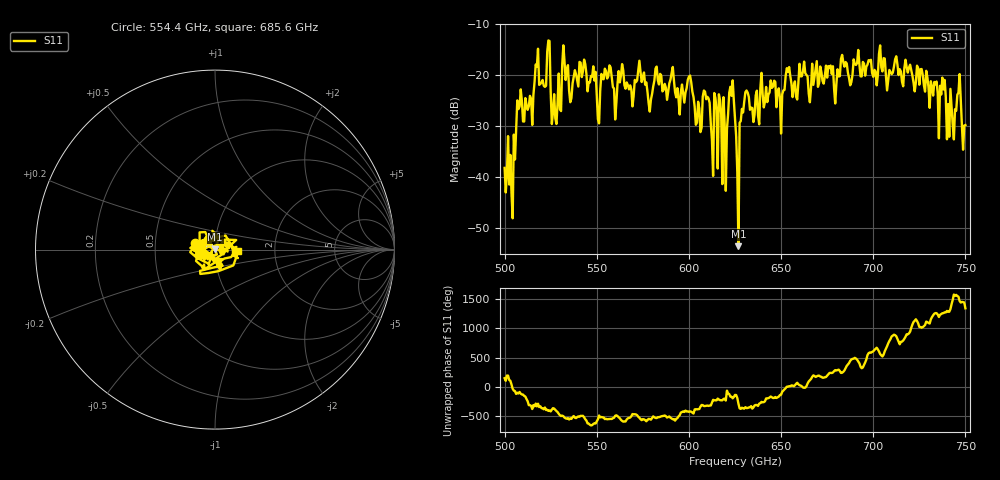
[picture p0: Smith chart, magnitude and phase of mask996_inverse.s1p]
!Created with skrf (http://scikit-rf.org).
# GHz S MA R 50.0
!freq magS11 angS11
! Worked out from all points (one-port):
!   401 points, 500 GHz to 750 GHz, reference 50 ohm
!   lowest |S11| = -53.5 dB at 626.9 GHz (marker M1), VSWR 1.00, Z = 50.1 + j0.193 ohm
!   |S11| at or under -10 dB: start of sweep to end of sweep
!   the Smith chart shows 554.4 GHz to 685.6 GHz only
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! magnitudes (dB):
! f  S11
! 500 GHz  -38.1
! 503.8 GHz  -43.2
! 508.1 GHz  -26.1
! 513.8 GHz  -24.0
! 517.5 GHz  -18.4
! 523.8 GHz  -13.2
! 526.9 GHz  -23.7
! 531.2 GHz  -18.0
! 542.5 GHz  -19.2
! 551.2 GHz  -29.4
! 562.5 GHz  -21.4
! 593.8 GHz  -22.5
! 600.6 GHz  -20.0
! 605.6 GHz  -26.5
! 609.4 GHz  -24.7
! 611.9 GHz  -29.5
! 619.4 GHz  -29.4
! 623.1 GHz  -24.0
! 625 GHz  -28.3
! 626.9 GHz  -53.5
! 631.2 GHz  -23.0
! 656.2 GHz  -24.3
! 687.5 GHz  -22.0
! 718.8 GHz  -19.5
! 737.5 GHz  -20.5
! 742.5 GHz  -26.3
! 746.2 GHz  -23.4
! 750 GHz  -29.8
